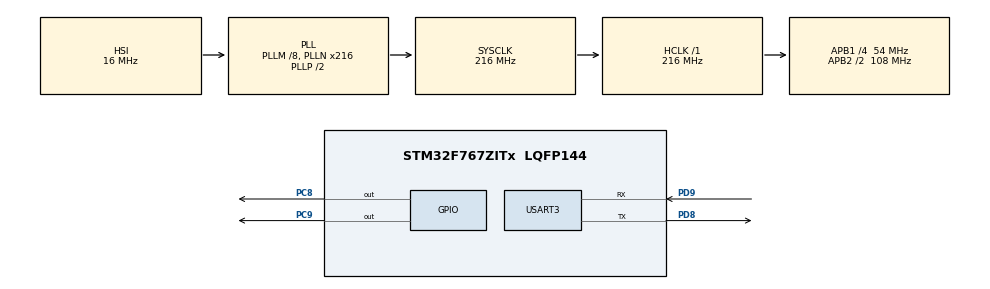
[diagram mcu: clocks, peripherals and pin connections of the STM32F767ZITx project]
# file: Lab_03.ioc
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CORTEX_M7.default_mode_Activation=1
Mcu.Family=STM32F7
Mcu.Name=STM32F767ZITx
Mcu.Package=LQFP144
NVIC.PriorityGroup=NVIC_PRIORITYGROUP_4
PC8.Signal=GPIO_Output
PC9.Signal=GPIO_Output
PD8.Mode=Asynchronous
PD8.Signal=USART3_TX
PD9.Mode=Asynchronous
PD9.Signal=USART3_RX
ProjectManager.HeapSize=0x200
ProjectManager.StackSize=0x400
ProjectManager.TargetToolchain=STM32CubeIDE
RCC.AHBFreq_Value=216000000
RCC.APB1CLKDivider=RCC_HCLK_DIV4
RCC.APB1Freq_Value=54000000
RCC.APB1TimFreq_Value=108000000
RCC.APB2CLKDivider=RCC_HCLK_DIV2
RCC.APB2Freq_Value=108000000
RCC.APB2TimFreq_Value=216000000
RCC.CortexFreq_Value=216000000
RCC.HCLKFreq_Value=216000000
RCC.HSE_VALUE=25000000
RCC.HSI_VALUE=16000000
RCC.LSE_VALUE=32768
RCC.PLLM=8
RCC.PLLN=216
RCC.SYSCLKFreq_VALUE=216000000
RCC.SYSCLKSource=RCC_SYSCLKSOURCE_PLLCLK
RCC.USBFreq_Value=216000000
RCC.VCOOutputFreq_Value=432000000
USART3.VirtualMode-Asynchronous=VM_ASYNC
board=custom

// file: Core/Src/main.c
/* USER CODE BEGIN Header */
/**
  ******************************************************************************
  * @file           : main.c
  * @brief          : Main program body
  ******************************************************************************
  * @attention
  *
  * Copyright (c) 2025 STMicroelectronics.
  * All rights reserved.
  *
  * This software is licensed under terms that can be found in the LICENSE file
  * in the root directory of this software component.
  * If no LICENSE file comes with this software, it is provided AS-IS.
  *
  ******************************************************************************
  */
/* USER CODE END Header */
#include "main.h"
#include "usart.h"
#include "gpio.h"

/* USER CODE BEGIN Includes */
#include "string.h"
/* USER CODE END Includes */

void SystemClock_Config(void);
static void MPU_Config(void);

int main(void)
{

  /* MPU Configuration--------------------------------------------------------*/
  MPU_Config();

  /* MCU Configuration--------------------------------------------------------*/

  /* Reset of all peripherals, Initializes the Flash interface and the Systick. */
  HAL_Init();

  /* Configure the system clock */
  SystemClock_Config();

  /* Initialize all configured peripherals */
  MX_GPIO_Init();
  MX_USART3_UART_Init();
  /* USER CODE BEGIN 2 */

  char output[100] = "Display Blinking LED PRESS (1,2) \r\nDisplay Group Member PRESS m\r\nQuit PRESS q\r\n\tInput => ";
  while (__HAL_UART_GET_FLAG(&huart3, UART_FLAG_TC) == RESET) {}
  HAL_UART_Transmit(&huart3, (uint8_t*) output, strlen(output), 1000);
  HAL_Delay(500);

  /* USER CODE END 2 */

  /* Infinite loop */
  while (1)
  {

    /* USER CODE BEGIN 3 */

	  // Receive data
	  char ch1;
	  while (__HAL_UART_GET_FLAG(&huart3, UART_FLAG_RXNE) == RESET) {}
	  HAL_UART_Receive(&huart3, (uint8_t*) &ch1, 1, 1000);

	  char output2[100];
	  snprintf(output2, sizeof(output2), "%c\r\n",ch1);
	  while (__HAL_UART_GET_FLAG(&huart3, UART_FLAG_TC) == RESET) {}
	  HAL_UART_Transmit(&huart3, (uint8_t*) output2, strlen(output2), 1000);

	  if (ch1 == 'q') {
		  char show1[200] = "\tQUIT\r\n";
		  while (__HAL_UART_GET_FLAG(&huart3, UART_FLAG_TC) == RESET) {}
		  HAL_UART_Transmit(&huart3, (uint8_t*) show1, strlen(show1), 1000);
		  break;
	  } else if (ch1 == 'm'){
		  char show2[200] = "\t66010662\r\n\tManchai Boonchanamontri\r\n\t66010733\r\n\tWoranuch Pluengnuch\r\n";
		  while (__HAL_UART_GET_FLAG(&huart3, UART_FLAG_TC) == RESET) {}
		  HAL_UART_Transmit(&huart3, (uint8_t*) show2, strlen(show2), 1000);
	  } else if (ch1 == '1'){
		  for (uint8_t i = 0 ; i < 3; i++) {
			  HAL_GPIO_WritePin(GPIOC, GPIO_PIN_8, GPIO_PIN_SET);
			  HAL_Delay(300);
			  HAL_GPIO_WritePin(GPIOC, GPIO_PIN_8, GPIO_PIN_RESET);
			  HAL_Delay(300);
		  }
	  } else if (ch1 == '2'){
		  for (uint8_t i = 0 ; i < 3; i++) {
			  HAL_GPIO_WritePin(GPIOC, GPIO_PIN_9, GPIO_PIN_SET);
			  HAL_Delay(300);
			  HAL_GPIO_WritePin(GPIOC, GPIO_PIN_9, GPIO_PIN_RESET);
			  HAL_Delay(300);
		  }
	  } else {
		  char show3[200] = "\tUnknown Command\r\n";
		  while (__HAL_UART_GET_FLAG(&huart3, UART_FLAG_TC) == RESET) {}
		  HAL_UART_Transmit(&huart3, (uint8_t*) show3, strlen(show3), 1000);
	  }
	  char request[100] = "\tInput => ";
	  while (__HAL_UART_GET_FLAG(&huart3, UART_FLAG_TC) == RESET) {}
	  HAL_UART_Transmit(&huart3, (uint8_t*) request, strlen(request), 1000);

  }
  /* USER CODE END 3 */
}

void SystemClock_Config(void)
{
  RCC_OscInitTypeDef RCC_OscInitStruct = {0};
  RCC_ClkInitTypeDef RCC_ClkInitStruct = {0};

  /** Configure the main internal regulator output voltage
  */
  __HAL_RCC_PWR_CLK_ENABLE();
  __HAL_PWR_VOLTAGESCALING_CONFIG(PWR_REGULATOR_VOLTAGE_SCALE1);

  /** Initializes the RCC Oscillators according to the specified parameters
  * in the RCC_OscInitTypeDef structure.
  */
  RCC_OscInitStruct.OscillatorType = RCC_OSCILLATORTYPE_HSI;
  RCC_OscInitStruct.HSIState = RCC_HSI_ON;
  RCC_OscInitStruct.HSICalibrationValue = RCC_HSICALIBRATION_DEFAULT;
  RCC_OscInitStruct.PLL.PLLState = RCC_PLL_ON;
  RCC_OscInitStruct.PLL.PLLSource = RCC_PLLSOURCE_HSI;
  RCC_OscInitStruct.PLL.PLLM = 8;
  RCC_OscInitStruct.PLL.PLLN = 216;
  RCC_OscInitStruct.PLL.PLLP = RCC_PLLP_DIV2;
  RCC_OscInitStruct.PLL.PLLQ = 2;
  RCC_OscInitStruct.PLL.PLLR = 2;
  if (HAL_RCC_OscConfig(&RCC_OscInitStruct) != HAL_OK)
  {
    Error_Handler();
  }

  /** Activate the Over-Drive mode
  */
  if (HAL_PWREx_EnableOverDrive() != HAL_OK)
  {
    Error_Handler();
  }

  /** Initializes the CPU, AHB and APB buses clocks
  */
  RCC_ClkInitStruct.ClockType = RCC_CLOCKTYPE_HCLK|RCC_CLOCKTYPE_SYSCLK
                              |RCC_CLOCKTYPE_PCLK1|RCC_CLOCKTYPE_PCLK2;
  RCC_ClkInitStruct.SYSCLKSource = RCC_SYSCLKSOURCE_PLLCLK;
  RCC_ClkInitStruct.AHBCLKDivider = RCC_SYSCLK_DIV1;
  RCC_ClkInitStruct.APB1CLKDivider = RCC_HCLK_DIV4;
  RCC_ClkInitStruct.APB2CLKDivider = RCC_HCLK_DIV2;

  if (HAL_RCC_ClockConfig(&RCC_ClkInitStruct, FLASH_LATENCY_7) != HAL_OK)
  {
    Error_Handler();
  }
}

 /* MPU Configuration */

void MPU_Config(void)
{
  MPU_Region_InitTypeDef MPU_InitStruct = {0};

  /* Disables the MPU */
  HAL_MPU_Disable();

  /** Initializes and configures the Region and the memory to be protected
  */
  MPU_InitStruct.Enable = MPU_REGION_ENABLE;
  MPU_InitStruct.Number = MPU_REGION_NUMBER0;
  MPU_InitStruct.BaseAddress = 0x0;
  MPU_InitStruct.Size = MPU_REGION_SIZE_4GB;
  MPU_InitStruct.SubRegionDisable = 0x87;
  MPU_InitStruct.TypeExtField = MPU_TEX_LEVEL0;
  MPU_InitStruct.AccessPermission = MPU_REGION_NO_ACCESS;
  MPU_InitStruct.DisableExec = MPU_INSTRUCTION_ACCESS_DISABLE;
  MPU_InitStruct.IsShareable = MPU_ACCESS_SHAREABLE;
  MPU_InitStruct.IsCacheable = MPU_ACCESS_NOT_CACHEABLE;
  MPU_InitStruct.IsBufferable = MPU_ACCESS_NOT_BUFFERABLE;

  HAL_MPU_ConfigRegion(&MPU_InitStruct);
  /* Enables the MPU */
  HAL_MPU_Enable(MPU_PRIVILEGED_DEFAULT);

}

void Error_Handler(void)
{
  __disable_irq();
  while (1)
  {
  }
}
